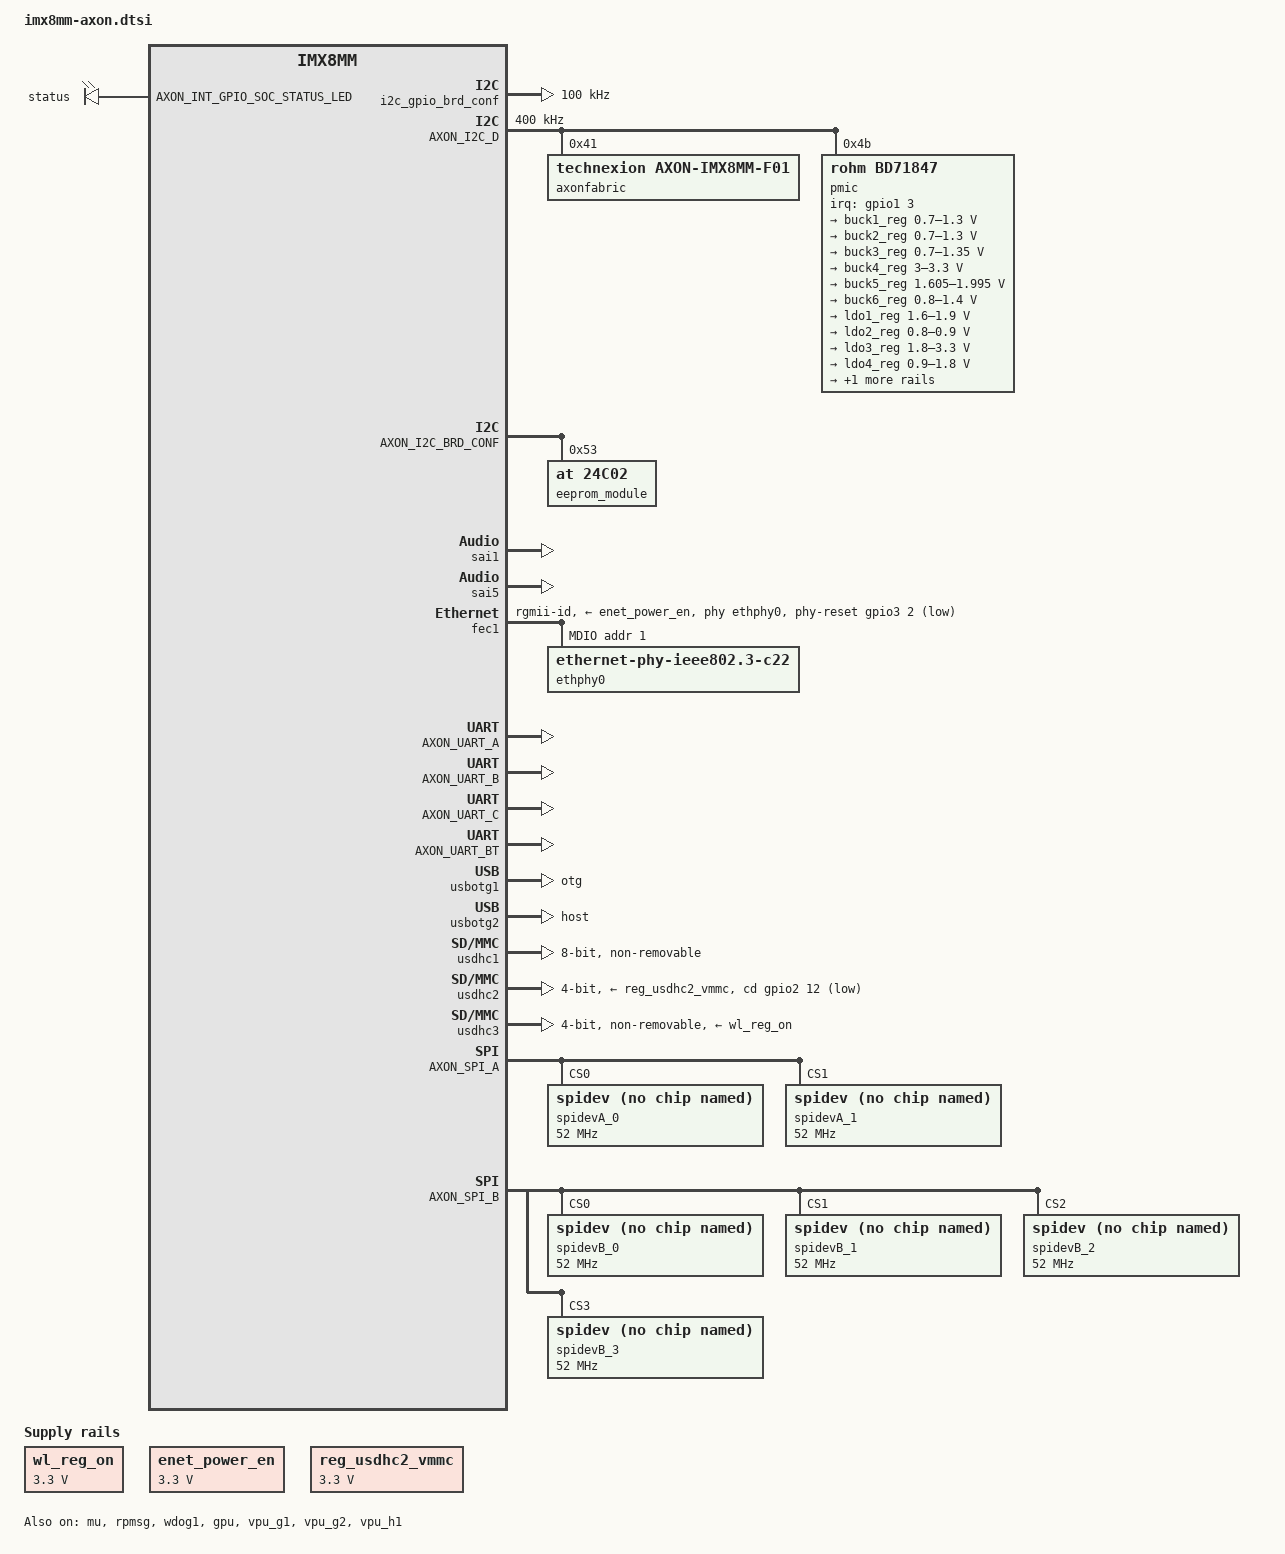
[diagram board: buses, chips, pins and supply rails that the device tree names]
/* * Copyright 2019 Technexion Ltd.
 * Copyright 2018 NXP
 *
 * Author: Richard Hu <richard.hu@technexion.com>
 *         John Weber <john.weber@technexion.com>
 *
 * This program is free software; you can redistribute it and/or
 * modify it under the terms of the GNU General Public License
 * as published by the Free Software Foundation; either version 2
 * of the License, or (at your option) any later version.
 *
 * This program is distributed in the hope that it will be useful,
 * but WITHOUT ANY WARRANTY; without even the implied warranty of
 * MERCHANTABILITY or FITNESS FOR A PARTICULAR PURPOSE.  See the
 * GNU General Public License for more details.
 */

/dts-v1/;

#include "imx8mm.dtsi"
#include "imx8mm-axon-definitions.dtsi"

/ {
	chosen {
		bootargs = "console=ttymxc0,115200 earlycon=ec_imx6q,0x30860000,115200";
		stdout-path = &AXON_UART_A;
	};

	leds {
		compatible = "gpio-leds";
		pinctrl-names = "default";
		pinctrl-0 = <&pinctrl_gpio_led>;

		status {
			label = "status";
			gpios = <AXON_INT_GPIO_SOC_STATUS_LED GPIO_ACTIVE_HIGH>;
			linux,default-trigger = "heartbeat";
		};
	};

	bt_reg_on: btreg_on {
		compatible = "gpio-reset";
		pinctrl-names = "default";
		pinctrl-0 = <&pinctrl_bt_ctrl>;
		reset-gpios = <AXON_INT_GPIO_BT_REG_ON GPIO_ACTIVE_LOW>;
		reset-delay-us = <2000>;
		reset-post-delay-ms = <200>;
		#reset-cells = <0>;
	};

	/* Optional use of gpio-reset device to control
	   the fabric reset. Be aware that using this device
	   delays the initialization of the axonfabric until
	   much later in the boot process */
	fabric_reset: fabric_reset {
		compatible = "gpio-reset";
		pinctrl-names = "default";
		pinctrl-0 = <&pinctrl_fabric_reset>;
		reset-gpios = <AXON_INT_GPIO_FABRIC_RESET_N GPIO_ACTIVE_LOW>;
		reset-delay-us = <2000>;
		#reset-cells = <0>;
		status="disabled";
	};

	regulators {
		compatible = "simple-bus";
		#address-cells = <1>;
		#size-cells = <0>;

		wl_reg_on: wlreg_on {
			compatible = "regulator-fixed";
			pinctrl-names = "default";
			pinctrl-0 = <&pinctrl_wifi_ctrl>;
			regulator-name = "WL_REG_ON";
			regulator-min-microvolt = <3300000>;
			regulator-max-microvolt = <3300000>;
			gpio = <AXON_INT_GPIO_WL_REG_ON GPIO_ACTIVE_HIGH>;
			off-on-delay = <20000>;
			startup-delay-us = <100>;
			enable-active-high;
		};

		enet_power_en: enet_power_en {
			pinctrl-names = "default";
			pinctrl-0 = <&pinctrl_enet_pwr>;
			compatible = "regulator-fixed";
			regulator-name = "enet_pwr";
			regulator-min-microvolt = <3300000>;
			regulator-max-microvolt = <3300000>;
			gpio = <AXON_INT_GPIO_ENET_PWR_EN GPIO_ACTIVE_HIGH>;
			enable-active-high;
			regulator-always-on;
		};

		reg_usdhc2_vmmc: regulator-usdhc2 {
			compatible = "regulator-fixed";
			pinctrl-names = "default";
			pinctrl-0 = <&pinctrl_usdhc2_pwr>;
			regulator-name = "SD_3V3";
			regulator-min-microvolt = <3300000>;
			regulator-max-microvolt = <3300000>;
			gpio = <AXON_EXT_SD_RESET_B GPIO_ACTIVE_HIGH>;
			off-on-delay = <20000>;
			enable-active-high;
		};
	};

	i2c_gpio_brd_conf: i2c@0 {
		compatible = "i2c-gpio";
		#address-cells = <1>;
		#size-cells = <0>;
		pinctrl-names = "default";
		pinctrl-0 = <&pinctrl_axon_i2c_brd_conf>;
		gpios = <
			AXON_I2C_BRD_CONF_SDA GPIO_ACTIVE_HIGH /* SDA */
			AXON_I2C_BRD_CONF_SCL GPIO_ACTIVE_HIGH /* SCL */
		>;
		clock-frequency = <100000>;
		status = "okay";
	};

};

&iomuxc {
	pinctrl-names = "default";

	imx8mm-axon {

		pinctrl_axon_i2c_brd_conf: i2cbrdconfgrp {
			fsl,pins = <
				MX8MM_IOMUXC_SAI2_MCLK_GPIO4_IO27	0x1c3  /* BRD_CONF_SCL, bitbang */
				MX8MM_IOMUXC_SAI2_TXC_GPIO4_IO25 	0x1c3  /* BRD_CONF_SDA, bitbang */
			>;
		};

		pinctrl_fec1: fec1grp {
			fsl,pins = <
				MX8MM_IOMUXC_ENET_MDC_ENET1_MDC		0x3
				MX8MM_IOMUXC_ENET_MDIO_ENET1_MDIO	0x3
				MX8MM_IOMUXC_ENET_TD3_ENET1_RGMII_TD3	0x1f
				MX8MM_IOMUXC_ENET_TD2_ENET1_RGMII_TD2	0x1f
				MX8MM_IOMUXC_ENET_TD1_ENET1_RGMII_TD1	0x1f
				MX8MM_IOMUXC_ENET_TD0_ENET1_RGMII_TD0	0x1f
				MX8MM_IOMUXC_ENET_RD3_ENET1_RGMII_RD3	0x91
				MX8MM_IOMUXC_ENET_RD2_ENET1_RGMII_RD2	0x91
				MX8MM_IOMUXC_ENET_RD1_ENET1_RGMII_RD1	0x91
				MX8MM_IOMUXC_ENET_RD0_ENET1_RGMII_RD0	0x91
				MX8MM_IOMUXC_ENET_TXC_ENET1_RGMII_TXC	0x1f
				MX8MM_IOMUXC_ENET_RXC_ENET1_RGMII_RXC	0x91
				MX8MM_IOMUXC_ENET_RX_CTL_ENET1_RGMII_RX_CTL	0x91
				MX8MM_IOMUXC_ENET_TX_CTL_ENET1_RGMII_TX_CTL	0x1f
				MX8MM_IOMUXC_NAND_CE1_B_GPIO3_IO2	0x19  /* ENET_nRST */
			>;
		};

		pinctrl_spi_a: spi_a_grp {
			fsl,pins = <
				MX8MM_IOMUXC_ECSPI1_SCLK_ECSPI1_SCLK		0x1c2  /* SPI_A_SCLK */
				MX8MM_IOMUXC_ECSPI1_MISO_ECSPI1_MISO		0x80   /* SPI_A_MISO */
				MX8MM_IOMUXC_ECSPI1_MOSI_ECSPI1_MOSI		0x82   /* SPI_A_MOSI */
				MX8MM_IOMUXC_ECSPI1_SS0_GPIO5_IO9		    0x82   /* SPI_A_CS0 */
				MX8MM_IOMUXC_GPIO1_IO08_GPIO1_IO8           0x82   /* SPI_A_CS1 */
			>;
		};

		pinctrl_spi_b: spi_b_grp {
			fsl,pins = <
				MX8MM_IOMUXC_UART1_RXD_ECSPI3_SCLK		    0x1c2   /* SPI_B_SCLK */
				MX8MM_IOMUXC_UART2_RXD_ECSPI3_MISO		    0x80    /* SPI_B_MISO */
				MX8MM_IOMUXC_UART1_TXD_ECSPI3_MOSI		    0x82    /* SPI_B_MOSI */
				MX8MM_IOMUXC_UART2_TXD_GPIO5_IO25		    0x82    /* SPI_B_CS0 */
				MX8MM_IOMUXC_GPIO1_IO09_GPIO1_IO9           0x82    /* SPI_B_CS1 */
				MX8MM_IOMUXC_GPIO1_IO10_GPIO1_IO10          0x82    /* SPI_B_CORE_CS_n */
				MX8MM_IOMUXC_GPIO1_IO11_GPIO1_IO11			0x82    /* SPI_B_FABRIC_CS_n */
			>;
		};

		pinctrl_gpio_led: gpioledgrp {
			fsl,pins = <
				MX8MM_IOMUXC_NAND_DATA03_GPIO3_IO9		0x11
			>;
		};

		pinctrl_fabric_reset: fabricresetgrp {
			fsl,pins = <
				MX8MM_IOMUXC_GPIO1_IO01_GPIO1_IO1		0x11
			>;
		};

		pinctrl_usdhc2_pwr: usdhc2rstgrp {
			fsl,pins = <
				MX8MM_IOMUXC_SD2_RESET_B_GPIO2_IO19	0x1d0   /* SD_RESET_B */
			>;
		};

		pinctrl_enet_pwr: enetpwrgrp {
			fsl,pins = <
				MX8MM_IOMUXC_NAND_CE0_B_GPIO3_IO1		0x11
			>;
		};

		pinctrl_i2c1: i2c1grp {
			fsl,pins = <
				MX8MM_IOMUXC_I2C1_SCL_I2C1_SCL			0x40000153
				MX8MM_IOMUXC_I2C1_SDA_I2C1_SDA			0x40000153
			>;
		};

		pinctrl_i2c2: i2c2grp {
			fsl,pins = <
				MX8MM_IOMUXC_I2C2_SCL_I2C2_SCL			0x40000153
				MX8MM_IOMUXC_I2C2_SDA_I2C2_SDA			0x40000153
			>;
		};

		pinctrl_i2c3: i2c3grp {
			fsl,pins = <
				MX8MM_IOMUXC_I2C3_SCL_I2C3_SCL			0x40000153
				MX8MM_IOMUXC_I2C3_SDA_I2C3_SDA			0x40000153
			>;
		};

		pinctrl_i2c4: i2c4grp {
			fsl,pins = <
				MX8MM_IOMUXC_I2C4_SCL_I2C4_SCL			0x40000153
				MX8MM_IOMUXC_I2C4_SDA_I2C4_SDA			0x40000153
			>;
		};

		pinctrl_pcie0: pcie0grp {
			fsl,pins = <
				MX8MM_IOMUXC_SAI3_RXFS_GPIO4_IO28	0x61	/* clock request */
				MX8MM_IOMUXC_UART4_RXD_GPIO5_IO28	0x41	/* PCIe wakeup */
				MX8MM_IOMUXC_UART4_TXD_GPIO5_IO29	0x19	/* PCIe reset */
			>;
		};

		pinctrl_pmic: pmicirq {
			fsl,pins = <
				MX8MM_IOMUXC_GPIO1_IO03_GPIO1_IO3		0x41
			>;
		};

		pinctrl_sai1: sai1grp {
			fsl,pins = <
				MX8MM_IOMUXC_SAI1_TXFS_SAI1_TX_SYNC	    0xd6
				MX8MM_IOMUXC_SAI1_TXC_SAI1_TX_BCLK	    0xd6
				MX8MM_IOMUXC_SAI1_TXD0_SAI1_TX_DATA0	0xd6
				MX8MM_IOMUXC_SAI1_RXD0_SAI1_RX_DATA0    0xd6
			>;
		};

		pinctrl_sai5_4wire: sai5grp {
			fsl,pins = <

				MX8MM_IOMUXC_SAI5_RXD3_SAI5_TX_DATA0	0xd6
				MX8MM_IOMUXC_SAI5_RXD1_SAI5_TX_SYNC		0xd6
				MX8MM_IOMUXC_SAI5_RXD2_SAI5_TX_BCLK		0xd6
				MX8MM_IOMUXC_SAI5_RXD0_SAI5_RX_DATA0	0xd6
			>;
		};

		pinctrl_sai5_mclk: sai5mclkgrp {
			fsl,pins = <
				MX8MM_IOMUXC_SAI5_MCLK_SAI5_MCLK		0xd6
			>;
		};

		pinctrl_sai5_rxasync: sai5rxasyncgrp {
			fsl,pins = <
				MX8MM_IOMUXC_SAI5_RXC_SAI5_RX_BCLK		0xd6
				MX8MM_IOMUXC_SAI5_RXFS_SAI5_RX_SYNC		0xd6
			>;
		};

		/* Bluetooth audio */
		pinctrl_sai6: sai6grp {
			fsl,pins = <
				MX8MM_IOMUXC_SAI1_RXD4_SAI6_TX_BCLK     0xd6
				MX8MM_IOMUXC_SAI1_RXD6_SAI6_TX_SYNC		0xd6
				MX8MM_IOMUXC_SAI1_RXD5_SAI6_TX_DATA0	0xd6
				MX8MM_IOMUXC_SAI1_TXD5_SAI6_RX_DATA0    0xd6
			>;
		};

		pinctrl_uart1: uart1grp {
			fsl,pins = <
				MX8MM_IOMUXC_SAI2_RXC_UART1_DCE_RX	    0x140
				MX8MM_IOMUXC_SAI2_RXFS_UART1_DCE_TX	    0x140
			>;
		};

		// Requires changes to pins_imx8mm.h to add SAI3 UART2 configurations
		pinctrl_uart2: uart2grp {
			fsl,pins = <
				MX8MM_IOMUXC_SAI3_TXFS_UART2_DCE_RX	    0x140
				MX8MM_IOMUXC_SAI3_TXC_UART2_DCE_TX	    0x140
			>;
		};

		pinctrl_uart3: uart3grp {
			fsl,pins = <
				MX8MM_IOMUXC_UART3_RXD_UART3_DCE_RX			0x140
				MX8MM_IOMUXC_UART3_TXD_UART3_DCE_TX			0x140
			>;
		};

		pinctrl_uart4_2wire: uart4grp_2wire {
			fsl,pins = <
				MX8MM_IOMUXC_ECSPI2_SCLK_UART4_DCE_RX		0x140
				MX8MM_IOMUXC_ECSPI2_MOSI_UART4_DCE_TX		0x140
			>;
		};

		pinctrl_uart4: uart4grp {
			fsl,pins = <
				MX8MM_IOMUXC_ECSPI2_SCLK_UART4_DCE_RX		0x140
				MX8MM_IOMUXC_ECSPI2_MISO_UART4_DCE_CTS_B	0x140
				MX8MM_IOMUXC_ECSPI2_MOSI_UART4_DCE_TX		0x140
				MX8MM_IOMUXC_ECSPI2_SS0_UART4_DCE_RTS_B		0x140
			>;
		};

		pinctrl_wifi_ctrl: wifi_ctrlgrp {
			fsl,pins = <
				MX8MM_IOMUXC_NAND_DATA00_GPIO3_IO6	0x41 /* WL_REG_ON */
			>;
		};

		pinctrl_bt_ctrl: bt_ctrlgrp {
			fsl,pins = <
				MX8MM_IOMUXC_NAND_DATA01_GPIO3_IO7	0x41 /* BT_REG_ON */
			>;
		};

		pinctrl_usdhc1: usdhc1grp {
			fsl,pins = <
				MX8MM_IOMUXC_SD1_CLK_USDHC1_CLK		0x190
				MX8MM_IOMUXC_SD1_CMD_USDHC1_CMD		0x1d0
				MX8MM_IOMUXC_SD1_DATA0_USDHC1_DATA0	0x1d0
				MX8MM_IOMUXC_SD1_DATA1_USDHC1_DATA1	0x1d0
				MX8MM_IOMUXC_SD1_DATA2_USDHC1_DATA2	0x1d0
				MX8MM_IOMUXC_SD1_DATA3_USDHC1_DATA3	0x1d0
				MX8MM_IOMUXC_SD1_DATA4_USDHC1_DATA4	0x1d0
				MX8MM_IOMUXC_SD1_DATA5_USDHC1_DATA5	0x1d0
				MX8MM_IOMUXC_SD1_DATA6_USDHC1_DATA6	0x1d0
				MX8MM_IOMUXC_SD1_DATA7_USDHC1_DATA7	0x1d0
				MX8MM_IOMUXC_SD1_STROBE_USDHC1_STROBE 0x190
			>;
		};

		pinctrl_usdhc1_100mhz: usdhc1grp100mhz {
			fsl,pins = <
				MX8MM_IOMUXC_SD1_CLK_USDHC1_CLK		0x194
				MX8MM_IOMUXC_SD1_CMD_USDHC1_CMD		0x1d4
				MX8MM_IOMUXC_SD1_DATA0_USDHC1_DATA0	0x1d4
				MX8MM_IOMUXC_SD1_DATA1_USDHC1_DATA1	0x1d4
				MX8MM_IOMUXC_SD1_DATA2_USDHC1_DATA2	0x1d4
				MX8MM_IOMUXC_SD1_DATA3_USDHC1_DATA3	0x1d4
				MX8MM_IOMUXC_SD1_DATA4_USDHC1_DATA4	0x1d4
				MX8MM_IOMUXC_SD1_DATA5_USDHC1_DATA5	0x1d4
				MX8MM_IOMUXC_SD1_DATA6_USDHC1_DATA6	0x1d4
				MX8MM_IOMUXC_SD1_DATA7_USDHC1_DATA7	0x1d4
				MX8MM_IOMUXC_SD1_STROBE_USDHC1_STROBE 0x194
			>;
		};

		pinctrl_usdhc1_200mhz: usdhc1grp200mhz {
			fsl,pins = <
				MX8MM_IOMUXC_SD1_CLK_USDHC1_CLK		0x196
				MX8MM_IOMUXC_SD1_CMD_USDHC1_CMD		0x1d6
				MX8MM_IOMUXC_SD1_DATA0_USDHC1_DATA0	0x1d6
				MX8MM_IOMUXC_SD1_DATA1_USDHC1_DATA1	0x1d6
				MX8MM_IOMUXC_SD1_DATA2_USDHC1_DATA2	0x1d6
				MX8MM_IOMUXC_SD1_DATA3_USDHC1_DATA3	0x1d6
				MX8MM_IOMUXC_SD1_DATA4_USDHC1_DATA4	0x1d6
				MX8MM_IOMUXC_SD1_DATA5_USDHC1_DATA5	0x1d6
				MX8MM_IOMUXC_SD1_DATA6_USDHC1_DATA6	0x1d6
				MX8MM_IOMUXC_SD1_DATA7_USDHC1_DATA7	0x1d6
				MX8MM_IOMUXC_SD1_STROBE_USDHC1_STROBE 0x196
			>;
		};

		pinctrl_usdhc2_gpio: usdhc2grpgpio {
			fsl,pins = <
				MX8MM_IOMUXC_SD2_CD_B_GPIO2_IO12	0x1c4
			>;
		};

		pinctrl_usdhc2: usdhc2grp {
			fsl,pins = <
				MX8MM_IOMUXC_SD2_CLK_USDHC2_CLK		0x190
				MX8MM_IOMUXC_SD2_CMD_USDHC2_CMD		0x1d0
				MX8MM_IOMUXC_SD2_DATA0_USDHC2_DATA0	0x1d0
				MX8MM_IOMUXC_SD2_DATA1_USDHC2_DATA1	0x1d0
				MX8MM_IOMUXC_SD2_DATA2_USDHC2_DATA2	0x1d0
				MX8MM_IOMUXC_SD2_DATA3_USDHC2_DATA3	0x1d0
				MX8MM_IOMUXC_GPIO1_IO04_USDHC2_VSELECT	0x1d0
			>;
		};

		pinctrl_usdhc2_100mhz: usdhc2grp100mhz {
			fsl,pins = <
				MX8MM_IOMUXC_SD2_CLK_USDHC2_CLK		0x194
				MX8MM_IOMUXC_SD2_CMD_USDHC2_CMD		0x1d4
				MX8MM_IOMUXC_SD2_DATA0_USDHC2_DATA0	0x1d4
				MX8MM_IOMUXC_SD2_DATA1_USDHC2_DATA1	0x1d4
				MX8MM_IOMUXC_SD2_DATA2_USDHC2_DATA2	0x1d4
				MX8MM_IOMUXC_SD2_DATA3_USDHC2_DATA3	0x1d4
				MX8MM_IOMUXC_GPIO1_IO04_USDHC2_VSELECT	0x1d0
			>;
		};

		pinctrl_usdhc2_200mhz: usdhc2grp200mhz {
			fsl,pins = <
				MX8MM_IOMUXC_SD2_CLK_USDHC2_CLK		0x196
				MX8MM_IOMUXC_SD2_CMD_USDHC2_CMD		0x1d6
				MX8MM_IOMUXC_SD2_DATA0_USDHC2_DATA0	0x1d6
				MX8MM_IOMUXC_SD2_DATA1_USDHC2_DATA1	0x1d6
				MX8MM_IOMUXC_SD2_DATA2_USDHC2_DATA2	0x1d6
				MX8MM_IOMUXC_SD2_DATA3_USDHC2_DATA3	0x1d6
				MX8MM_IOMUXC_GPIO1_IO04_USDHC2_VSELECT	0x1d0
			>;
		};

		pinctrl_usdhc3: usdhc3grp {
			fsl,pins = <
				MX8MM_IOMUXC_NAND_WE_B_USDHC3_CLK		0x190
				MX8MM_IOMUXC_NAND_WP_B_USDHC3_CMD		0x1d0
				MX8MM_IOMUXC_NAND_DATA04_USDHC3_DATA0		0x1d0
				MX8MM_IOMUXC_NAND_DATA05_USDHC3_DATA1		0x1d0
				MX8MM_IOMUXC_NAND_DATA06_USDHC3_DATA2		0x1d0
				MX8MM_IOMUXC_NAND_DATA07_USDHC3_DATA3		0x1d0
				MX8MM_IOMUXC_NAND_RE_B_USDHC3_DATA4		0x1d0
				MX8MM_IOMUXC_NAND_CE2_B_USDHC3_DATA5		0x1d0
				MX8MM_IOMUXC_NAND_CE3_B_USDHC3_DATA6		0x1d0
				MX8MM_IOMUXC_NAND_CLE_USDHC3_DATA7		0x1d0
			>;
		};

		pinctrl_usdhc3_100mhz: usdhc3grp100mhz {
			fsl,pins = <
				MX8MM_IOMUXC_NAND_WE_B_USDHC3_CLK		0x194
				MX8MM_IOMUXC_NAND_WP_B_USDHC3_CMD		0x1d4
				MX8MM_IOMUXC_NAND_DATA04_USDHC3_DATA0		0x1d4
				MX8MM_IOMUXC_NAND_DATA05_USDHC3_DATA1		0x1d4
				MX8MM_IOMUXC_NAND_DATA06_USDHC3_DATA2		0x1d4
				MX8MM_IOMUXC_NAND_DATA07_USDHC3_DATA3		0x1d4
				MX8MM_IOMUXC_NAND_RE_B_USDHC3_DATA4		0x1d4
				MX8MM_IOMUXC_NAND_CE2_B_USDHC3_DATA5		0x1d4
				MX8MM_IOMUXC_NAND_CE3_B_USDHC3_DATA6		0x1d4
				MX8MM_IOMUXC_NAND_CLE_USDHC3_DATA7		0x1d4
			>;
		};

		pinctrl_usdhc3_200mhz: usdhc3grp200mhz {
			fsl,pins = <
				MX8MM_IOMUXC_NAND_WE_B_USDHC3_CLK		0x196
				MX8MM_IOMUXC_NAND_WP_B_USDHC3_CMD		0x1d6
				MX8MM_IOMUXC_NAND_DATA04_USDHC3_DATA0		0x1d6
				MX8MM_IOMUXC_NAND_DATA05_USDHC3_DATA1		0x1d6
				MX8MM_IOMUXC_NAND_DATA06_USDHC3_DATA2		0x1d6
				MX8MM_IOMUXC_NAND_DATA07_USDHC3_DATA3		0x1d6
				MX8MM_IOMUXC_NAND_RE_B_USDHC3_DATA4		0x1d6
				MX8MM_IOMUXC_NAND_CE2_B_USDHC3_DATA5		0x1d6
				MX8MM_IOMUXC_NAND_CE3_B_USDHC3_DATA6		0x1d6
				MX8MM_IOMUXC_NAND_CLE_USDHC3_DATA7		0x1d6
			>;
		};

		pinctrl_wdog: wdoggrp {
			fsl,pins = <
				MX8MM_IOMUXC_GPIO1_IO02_WDOG1_WDOG_B		0xc6
			>;
		};
	};
};

&gpio1 {
	gpio-line-names =
		"", "FABRIC_RESET_N", "", "", "", "FABRIC_GPIO_INT0_N", "FABRIC_GPIO_INT1_N", "FABRIC_GPIO_INT2_N",
		"SPI_A_CS1", "SPI_B_CS1", "SPI_B_CORE_CS_N", "SPI_B_FABRIC_CS_N", "", "", "GPIO_X3_P69", "",
		"", "", "", "", "", "", "", "",
		"", "", "", "", "", "", "", "";
};

&gpio3 {
	gpio-line-names =
		"", "ENET_PWR_EN", "", "", "", "", "WL_REG_ON", "BT_REG_ON",
		"", "SOC_STATUS_LED", "", "", "", "", "", "",
		"BT_HOST_WAKE", "", "", "AUD_B_RXFS", "AUD_B_RXCLK", "AUD_B_RXD", "AUD_B_TXFS", "AUD_B_TXCLK",
		"AUD_B_TXD", "AUD_B_MCLK", "", "", "", "", "", "";
};

&gpio4 {
	gpio-line-names =
		"GPIO_X2_P22", "GPIO_X2_P24", "AUD_A_RXD", "GPIO_X1_P78", "GPIO_X1_P80", "GPIO_X2_P18", "AUD_BT_TXCLK", "AUD_BT_TXD",
		"AUD_BT_TXFS", "GPIO_X2_P20", "AUD_A_TXFS", "AUD_A_TXCLK", "AUD_A_TXD", "GPIO_X1_P66", "GPIO_X1_P68", "GPIO_X1_P70",
		"GPIO_X1_P72", "AUD_BT_RXD", "GPIO_X1_P74", "GPIO_X1_P76", "GPIO_SPARE1", "", "", "UART_A_RTS",
		"UART_A_CTS", "BRD_CONF_SDA", "GPIO_X3_P65", "BRD_CONF_SCL", "GPIO_X3_P71", "UART_B_CTS", "UART_B_RTS", "UART_B_RXD";
};

&gpio5 {
	gpio-line-names =
		"UART_B_TXD", "GPIO_X3_P67", "PWM4", "PWM3", "PWM2", "PWM1", "SPI_A_SCLK", "SPI_A_MOSI",
		"SPI_A_MISO", "SPI_A_CS0", "UART_BT_RXD", "UART_BT_TXD", "UART_BT_CTS", "UART_BT_RTS", "", "",
		"", "", "", "", "", "", "SPI_B_SCLK", "SPI_B_MOSI",
		"SPI_B_MISO", "SPI_B_CS0", "UART_C_RXD", "UART_C_TXD", "PCIE_A_WAKE", "PCIE_A_RESET", "", "";
};

&AXON_I2C_A {  // I2C_A
	clock-frequency = <100000>;
	pinctrl-names = "default";
	pinctrl-0 = <&pinctrl_i2c1>;
	status = "disabled";
};

&AXON_I2C_B {  // I2C_B
	clock-frequency = <400000>;
	pinctrl-names = "default";
	pinctrl-0 = <&pinctrl_i2c2>;
	status = "disabled";
};

&AXON_I2C_C {  // I2C_C
	clock-frequency = <100000>;
	pinctrl-names = "default";
	pinctrl-0 = <&pinctrl_i2c3>;
	status = "disabled";
};

&AXON_I2C_D {  // I2C_D
	clock-frequency = <400000>;
	pinctrl-names = "default";
	pinctrl-0 = <&pinctrl_i2c4>;
	status = "okay";

	axonfabric: axonfabric@41 {
		reg = <0x41>;
		pinctrl-names = "default";
		compatible = "technexion,axon-imx8mm-f01";
		pinctrl-0 = <&pinctrl_fabric_reset>;
		reset-gpios = <AXON_INT_GPIO_FABRIC_RESET_N GPIO_ACTIVE_LOW>;
		gpio-controller;
		#gpio-cells = <2>;
		gpio-line-names =
		"F_GPIO_X1_P66", "F_GPIO_X1_P68", "F_GPIO_X1_P70", "F_GPIO_X1_P72", // Bank 0
		"F_GPIO_X1_P74", "F_GPIO_X1_P76", "F_GPIO_X1_P78", "F_GPIO_X1_P80", // Bank 0
		"F_GPIO_X2_P18", "F_GPIO_X2_P20", "F_GPIO_X2_P22", "F_GPIO_X2_P24", // Bank 1
		"F_GPIO_X3_P65", "F_GPIO_X3_P67", "F_GPIO_X3_P69", "F_GPIO_X3_P71", // Bank 1
		"", "", "", "", "", "", "", "",                                     // Bank 2 - unused
		"F_DISP_DAT00", "F_DISP_DAT01", "F_DIST_DAT02", "F_DISP_DAT03",     // Bank 3
		"F_DISP_DAT04", "F_DISP_DAT05", "F_DIST_DAT06", "F_DISP_DAT07",     // Bank 3
		"F_DISP_DAT08", "F_DISP_DAT09", "F_DIST_DAT10", "F_DISP_DAT11",     // Bank 4
		"F_DISP_DAT12", "F_DISP_DAT13", "F_DIST_DAT14", "F_DISP_DAT15",     // Bank 4
		"F_DISP_DAT16", "F_DISP_DAT17", "F_DIST_DAT18", "F_DISP_DAT19",     // Bank 5
		"F_DISP_DAT20", "F_DISP_DAT21", "F_DIST_DAT22", "F_DISP_DAT23",     // Bank 5
		"F_DISP_HSYNC", "F_DISP_VSYNC", "F_DISP_CLK", "F_DISP_BKLEN",       // Bank 6
		"F_DISP_DRDY", "", "", "",                                          // Bank 6
		"F_UART_A_TXD", "F_UART_A_RXD", "F_UART_A_RTS", "F_UART_A_CTS",     // Bank 7
		"F_UART_B_TXD", "F_UART_B_RXD", "F_UART_B_RTS", "F_UART_B_CTS",     // Bank 7
		"F_UART_C_TXD", "F_UART_C_RXD", "F_UART_C_RTS", "F_UART_C_CTS",     // Bank 8
		"F_AUD_A_TXD", "F_AUD_A_TXFS", "F_AUD_A_TXCLK", "F_AUD_A_RXD",      // Bank 8
		"F_SPI_A_MISO", "F_SPI_A_MOSI", "F_SPI_A_SCLK", "F_SPI_A_CS0",      // Bank 9
		"F_SPI_A_CS1", "F_PWM_X1_P39", "F_PWM_X2_P79", "",                  // Bank 9
		"F_SPI_B_MISO", "F_SPI_B_MOSI", "F_SPI_B_SCLK", "F_SPI_B_CS0",      // Bank 10
		"F_SPI_B_CS1", "", "", "",                                          // Bank 10
		"F_UART_BT_TXD", "F_UART_BT_RXD", "F_UART_BT_RTS", "F_UART_BT_CTS", // Bank 11
		"F_CAN_A_TX", "F_CAN_A_RX", "F_CAN_B_TX", "F_CAN_B_RX",             // Bank 11
		"F_AUD_B_TXD", "F_AUD_B_TXFS", "F_AUD_B_TXCLK", "F_AUD_B_RXD",      // Bank 12
		"F_AUD_B_RXFS", "F_AUD_B_RXCLK", "F_AUD_B_MCLK", "";                // Bank 12
		status="okay";

		pinmux_axonfabric: pinmux {
			status = "okay";

 			// SPI_A
			pinctrl_af_spi_a_out: pcspia_out {
				pins = "F_SPI_A_MOSI", "F_SPI_A_SCLK", "F_SPI_A_CS0", "F_SPI_A_CS1";
				function = "passthru_out";
				drive-push-pull;
			};

			pinctrl_af_spi_a_in: pcspia_in {
				pins = "F_SPI_A_MISO"; function = "passthru_in"; drive-push-pull;
			};

			// SPI_B
			pinctrl_af_spi_b_out: pcspib_out {
				pins = "F_SPI_B_MOSI", "F_SPI_B_SCLK", "F_SPI_B_CS0", "F_SPI_B_CS1"; function = "passthru_out";
				drive-push-pull;
			};

			pinctrl_af_spi_b_in: pcspib_in {
				pins = "F_SPI_B_MISO"; function = "passthru_in"; drive-push-pull;
			};

			// UART_B
			pinctrl_af_uart_b_txd: pcuartb_txd {
				pins = "F_UART_B_TXD"; function = "passthru_out"; drive-push-pull;
			};

			pinctrl_af_uart_b_rxd: pcuartb_rxd {
				pins = "F_UART_B_RXD"; function = "passthru_in"; drive-push-pull;
			};

			// UART_C
			pinctrl_af_uart_c_txd: pcuartc_txd {
				pins = "F_UART_C_TXD"; function = "passthru_out"; drive-push-pull;
			};

			pinctrl_af_uart_c_rxd: pcuartc_rxd {
				pins = "F_UART_C_RXD"; function = "passthru_in"; drive-push-pull;
			};

			// UART_BT
			pinctrl_af_uart_bt_out: pcuartbt_out {
				pins = "F_UART_BT_TXD", "F_UART_BT_CTS"; function = "passthru_out";
				drive-push-pull;
			};

			pinctrl_af_uart_bt_in: pcuartbt_in {
				pins = "F_UART_BT_RXD", "F_UART_BT_RTS"; function = "passthru_in";
				drive-push-pull;
			};
		};
		
		gpio_axonfabric: gpio_axonfabric {
			status = "okay";
			compatible = "technexion,axonfabric-gpio";
			pinctrl-names = "default";
			pinctrl-0 = <&pinmux_axonfabric>;
		};
	};

	pmic: bd71847@4b {
		reg = <0x4b>;
		compatible = "rohm,bd71847";
		/* PMIC BD71837 PMIC_nINT GPIO1_IO3 */
		pinctrl-name = "default";
		pinctrl-0 = <&pinctrl_pmic>;
		interrupt-parent = <&gpio1>;
		interrupts = <3 GPIO_ACTIVE_LOW>;
		rohm,reset-snvs-powered;

		regulators {
			buck1_reg: BUCK1 { 
				regulator-name = "BUCK1"; 
				regulator-min-microvolt = <700000>;
				regulator-max-microvolt = <1300000>;
				regulator-boot-on;
				regulator-always-on; 
				regulator-ramp-delay = <1250>;
			};

			buck2_reg: BUCK2 {
				regulator-name = "BUCK2";
				regulator-min-microvolt = <700000>;
				regulator-max-microvolt = <1300000>;
				regulator-boot-on;
				regulator-always-on;
				regulator-ramp-delay = <1250>;
				rohm,dvs-run-voltage = <1000000>;
				rohm,dvs-idle-voltage = <900000>;
			};

			buck3_reg: BUCK3 {
				// BUCK5 in datasheet
				regulator-name = "BUCK3";
				regulator-min-microvolt = <700000>;
				regulator-max-microvolt = <1350000>;
				regulator-boot-on;
				regulator-always-on;
			};

			buck4_reg: BUCK4 {
				// BUCK6 in datasheet
				regulator-name = "BUCK4";
				regulator-min-microvolt = <3000000>;
				regulator-max-microvolt = <3300000>;
				regulator-boot-on;
				regulator-always-on;
			};

			buck5_reg: BUCK5 {
				// BUCK7 in datasheet
				regulator-name = "BUCK5";
				regulator-min-microvolt = <1605000>;
				regulator-max-microvolt = <1995000>;
				regulator-boot-on;
				regulator-always-on;
			};

			buck6_reg: BUCK6 {
				// BUCK8 in datasheet
				regulator-name = "BUCK6";
				regulator-min-microvolt = <800000>;
				regulator-max-microvolt = <1400000>;
				regulator-boot-on;
				regulator-always-on;
			};

			ldo1_reg: LDO1 {
				regulator-name = "LDO1";
				regulator-min-microvolt = <1600000>;
				regulator-max-microvolt = <1900000>;
				regulator-boot-on;
				regulator-always-on;
			};

			ldo2_reg: LDO2 {
				regulator-name = "LDO2";
				regulator-min-microvolt = <800000>;
				regulator-max-microvolt = <900000>;
				regulator-boot-on;
				regulator-always-on;
			};

			ldo3_reg: LDO3 {
				regulator-name = "LDO3";
				regulator-min-microvolt = <1800000>;
				regulator-max-microvolt = <3300000>;
				regulator-boot-on;
				regulator-always-on;
			};

			ldo4_reg: LDO4 {
				regulator-name = "LDO4";
				regulator-min-microvolt = <900000>;
				regulator-max-microvolt = <1800000>;
				regulator-boot-on;
				regulator-always-on;
			};

			ldo6_reg: LDO6 {
				regulator-name = "LDO6";
				regulator-min-microvolt = <900000>;
				regulator-max-microvolt = <1800000>;
				regulator-boot-on;
				regulator-always-on;
			};
		};
	};
};

&AXON_I2C_BRD_CONF {

	eeprom_module: eeprom@53 {
		compatible = "at,24c02";
		reg = <0x53>;
	};
};


&lcdif {
	status = "disabled";
};

&mu {
	status = "okay";
};

&rpmsg{
	/*
	 * 64K for one rpmsg instance:
	 * --0xb8000000~0xb800ffff: pingpong
	 */
	vdev-nums = <1>;
	reg = <0x0 0xb8000000 0x0 0x10000>;
	status = "okay";
};

&sai1 {  // AUD_A
    assigned-clocks = <&clk IMX8MM_AUDIO_PLL1>, <&clk IMX8MM_AUDIO_PLL2>, <&clk IMX8MM_CLK_SAI1>;
    assigned-clock-parents = <0>, <0>, <&clk IMX8MM_AUDIO_PLL1_OUT>;
    assigned-clock-rates = <786432000>, <722534400>, <12288000>;
	#sound-dai-cells = <0>;
    pinctrl-names = "default";
    pinctrl-0 = <&pinctrl_sai1>;
    status = "okay";
};

&sai5 {  // AUD_B
	pinctrl-names = "default";
	pinctrl-0 = <&pinctrl_sai5_4wire>;
	assigned-clocks = <&clk IMX8MM_CLK_SAI5>;
	assigned-clock-parents = <&clk IMX8MM_AUDIO_PLL1_OUT>;
	assigned-clock-rates = <0>, <24576000>;
	clocks = <&clk IMX8MM_CLK_SAI5_IPG>, <&clk IMX8MM_CLK_DUMMY>,
		<&clk IMX8MM_CLK_SAI5_ROOT>, <&clk IMX8MM_CLK_DUMMY>,
		<&clk IMX8MM_CLK_DUMMY>, <&clk IMX8MM_AUDIO_PLL1_OUT>,
		<&clk IMX8MM_AUDIO_PLL2_OUT>;
	clock-names = "bus", "mclk0", "mclk1", "mclk2", "mclk3", "pll8k", "pll11k";
	#sound-dai-cells = <0>;
	status = "okay";
};

&AXON_AUD_BT_I2S_CHANNEL {  // AUD_BT
	pinctrl-names = "default";
	pinctrl-0 = <&pinctrl_sai6>;
	assigned-clocks = <&clk IMX8MM_CLK_SAI6>;
	assigned-clock-parents = <&clk IMX8MM_AUDIO_PLL1_OUT>;
	assigned-clock-rates = <0>, <24576000>;
	clocks = <&clk IMX8MM_CLK_SAI6_IPG>, <&clk IMX8MM_CLK_DUMMY>,
		<&clk IMX8MM_CLK_SAI6_ROOT>, <&clk IMX8MM_CLK_DUMMY>,
		<&clk IMX8MM_CLK_DUMMY>, <&clk IMX8MM_AUDIO_PLL1_OUT>,
		<&clk IMX8MM_AUDIO_PLL2_OUT>;
	clock-names = "bus", "mclk0", "mclk1", "mclk2", "mclk3", "pll8k", "pll11k";
	status = "disabled";
};

&fec1 {
	pinctrl-names = "default";
	pinctrl-0 = <&pinctrl_fec1>;
	phy-mode = "rgmii-id";
	phy-handle = <&ethphy0>;
	phy-supply = <&enet_power_en>;
	phy-reset-gpios = <&gpio3 2 GPIO_ACTIVE_LOW>;
	fsl,magic-packet;
	status = "okay";

	mdio {
		#address-cells = <1>;
		#size-cells = <0>;

		ethphy0: ethernet-phy@1 {
			compatible = "ethernet-phy-ieee802.3-c22";
			reg = <1>;
			at803x,led-act-blind-workaround;
			at803x,eee-disabled;
		};
	};
};

&pcie0{
	pinctrl-names = "default";
	pinctrl-0 = <&pinctrl_pcie0>;
	clkreq-gpio = <&gpio4 28 GPIO_ACTIVE_LOW>;
	disable-gpio = <&gpio5 28 GPIO_ACTIVE_LOW>;
	reset-gpio = <&gpio5 29 GPIO_ACTIVE_LOW>;
	ext_osc = <1>;
	status = "disabled";
};

&AXON_UART_A { /* console */
	pinctrl-names = "default";
	pinctrl-0 = <&pinctrl_uart1>;
	assigned-clocks = <&clk IMX8MM_CLK_UART1>;
	assigned-clock-parents = <&clk IMX8MM_SYS_PLL1_80M>;
	status = "okay";
};

&AXON_UART_B {
	pinctrl-names = "default";
	pinctrl-0 = <&pinctrl_uart2>;
	assigned-clocks = <&clk IMX8MM_CLK_UART2>;
	assigned-clock-parents = <&clk IMX8MM_SYS_PLL1_80M>;
	status = "okay";
};

&AXON_UART_C {
	pinctrl-names = "default";
	pinctrl-0 = <&pinctrl_uart3>;
	assigned-clocks = <&clk IMX8MM_CLK_UART3>;
	assigned-clock-parents = <&clk IMX8MM_SYS_PLL1_80M>;
	status = "okay";
};

&AXON_UART_BT { /* BT */
	pinctrl-names = "default";
	pinctrl-0 = <&pinctrl_uart4>;
	assigned-clocks = <&clk IMX8MM_CLK_UART4>;
	assigned-clock-parents = <&clk IMX8MM_SYS_PLL1_80M>;
	fsl,uart-has-rtscts;
	resets = <&bt_reg_on>;
	status = "okay";
};

&usbotg1 {
	dr_mode = "otg";
	picophy,pre-emp-curr-control = <3>;
	picophy,dc-vol-level-adjust = <7>;
	status = "okay";
};

&usbotg2 {
	dr_mode = "host";
	picophy,pre-emp-curr-control = <3>;
	picophy,dc-vol-level-adjust = <7>;
	status = "okay";
};

/* eMMC on SOM */
&usdhc1 {
	pinctrl-names = "default", "state_100mhz", "state_200mhz";
	pinctrl-0 = <&pinctrl_usdhc1>;
	pinctrl-1 = <&pinctrl_usdhc1_100mhz>;
	pinctrl-2 = <&pinctrl_usdhc1_200mhz>;
	bus-width = <8>;
	non-removable;
	cqhci-disabled;
	status = "okay";
};

/* SD card on CLIX connector or baseboard */
&usdhc2 {
	pinctrl-names = "default", "state_100mhz", "state_200mhz";
	pinctrl-0 = <&pinctrl_usdhc2>, <&pinctrl_usdhc2_gpio>;
	pinctrl-1 = <&pinctrl_usdhc2_100mhz>, <&pinctrl_usdhc2_gpio>;
	pinctrl-2 = <&pinctrl_usdhc2_200mhz>, <&pinctrl_usdhc2_gpio>;
	cd-gpios = <&gpio2 12 GPIO_ACTIVE_LOW>;
	bus-width = <4>;
	vmmc-supply = <&reg_usdhc2_vmmc>;
	status = "okay";
};

/* WIFI SDIO */
&usdhc3 {
	pinctrl-names = "default", "state_100mhz", "state_200mhz";
	pinctrl-0 = <&pinctrl_usdhc3>;
	pinctrl-1 = <&pinctrl_usdhc3_100mhz>;
	pinctrl-2 = <&pinctrl_usdhc3_200mhz>;
	vmmc-supply = <&wl_reg_on>;
	bus-width = <4>;
	no-1-8-v;
	pm-ignore-notify;
	keep-power-in-suspend;
	non-removable;
	status = "okay";
};

&wdog1 {
	pinctrl-names = "default";
	pinctrl-0 = <&pinctrl_wdog>;
	fsl,ext-reset-output;
	status = "okay";
};

&AXON_SPI_A {
	cs-gpios = <AXON_EXT_GPIO_SPI_A_CS0   GPIO_ACTIVE_LOW>,
			   <AXON_EXT_GPIO_SPI_A_CS1   GPIO_ACTIVE_LOW>;
	fsl,spi-num-chipselects = <2>;
	pinctrl-names = "default";
	pinctrl-0 = <&pinctrl_spi_a>;
	#address-cells = <1>;
	#size-cells = <0>;
	status = "okay";

	spidevA_0: spidev@0 {
		compatible = "rohm,dh2228fv";
		spi-max-frequency = <52000000>;
		reg = <0>;
		status = "okay";
		};
	spidevA_1: spidev@1 {
		compatible = "rohm,dh2228fv";
		spi-max-frequency = <52000000>;
		reg = <1>;
		status = "okay";
		};
};

&AXON_SPI_B {
	cs-gpios =  <AXON_EXT_GPIO_SPI_B_CS0         GPIO_ACTIVE_LOW>,
				<AXON_EXT_GPIO_SPI_B_CS1         GPIO_ACTIVE_LOW>,
				<AXON_EXT_GPIO_SPI_B_FABRIC_CS_N GPIO_ACTIVE_LOW>,
				<AXON_EXT_GPIO_SPI_B_CORE_CS_N   GPIO_ACTIVE_LOW>;
	fsl,spi-num-chipselects = <4>;
	pinctrl-names = "default";
	pinctrl-0 = <&pinctrl_spi_b>;
	assigned-clocks = <&clk IMX8MM_CLK_ECSPI3>;
	assigned-clock-parents = <&clk IMX8MM_AUDIO_PLL2_OUT>;
	assigned-clock-rates = <0>, <80000000>;
	status = "okay";

	spidevB_0: spidev@0 {
		compatible = "rohm,dh2228fv";
		spi-max-frequency = <52000000>;
		reg = <0>;
		status = "okay";
		};
	spidevB_1: spidev@1 {
		compatible = "rohm,dh2228fv";
		spi-max-frequency = <52000000>;
		reg = <1>;
		status = "okay";
		};
	spidevB_2: spidev@2 {
		compatible = "rohm,dh2228fv";
		spi-max-frequency = <52000000>;
		reg = <2>;
		status = "okay";
		};
	spidevB_3: spidev@3 {
		compatible = "rohm,dh2228fv";
		spi-max-frequency = <52000000>;
		reg = <3>;
		status = "okay";
		};
};

&A53_0 {
	arm-supply = <&buck2_reg>;
};

&gpu {
	status = "okay";
};

&vpu_g1 {
	status = "okay";
};

&vpu_g2 {
	status = "okay";
};

&vpu_h1 {
	status = "okay";
};
